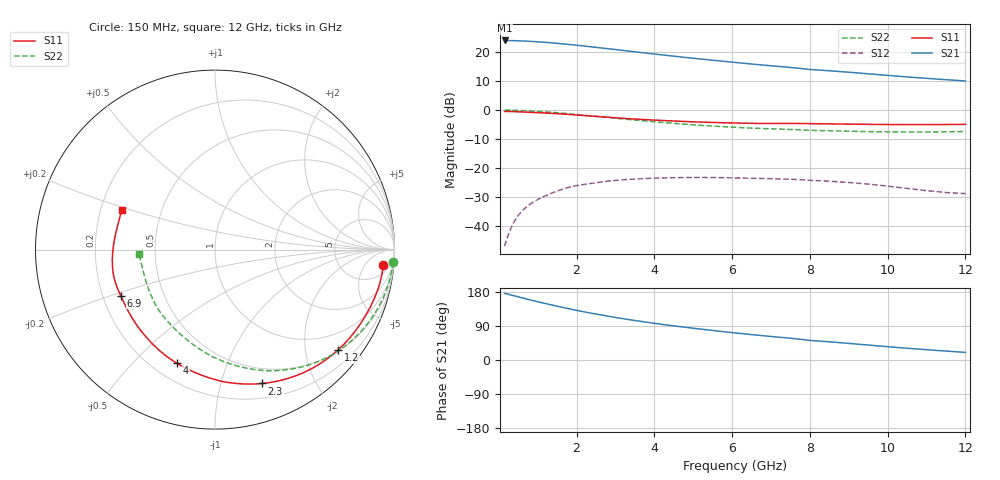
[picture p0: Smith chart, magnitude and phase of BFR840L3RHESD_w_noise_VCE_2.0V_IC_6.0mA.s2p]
! Infineon Technologies  Discrete & RF Semiconductors
! BFR840L3RHESD
! VCE =  2.0 V,  IC =  6.0 mA
! Common Emitter S-Parameters:  Jun 2012
# GHz  S  MA  R  50
!  f  S11  S21  S12  S22
! GHz  MAG  ANG  MAG  ANG  MAG  ANG  MAG  ANG
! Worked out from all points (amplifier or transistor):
!   91 points, 150 MHz to 12 GHz, reference 50 ohm
!   highest |S21| = 23.9 dB at 150 MHz (marker M1)
!   |S21| within 3 dB of that: start of sweep to 2.918 GHz
!   unconditionally stable (mu >= 1): 9.068 GHz to end of sweep
!   at 1.3 GHz: K = 0.11, MSG = 26.1 dB, |S12| = -29.0 dB
!   at 4.3 GHz: K = 0.31, MSG = 21.1 dB, |S12| = -23.4 dB
!   at 12 GHz: K = 2.32, MAG = 13.0 dB, |S12| = -28.8 dB
!   lowest NFmin = 0.53 dB at 450 MHz
!   S11 on the Smith chart (normalised r, x): 150 MHz: 10, -15; 1.2 GHz: 0.53, -2.72; 2.3 GHz: 0.34, -1.36; 4 GHz: 0.30, -0.68; 6.9 GHz: 0.28, -0.21; 12 GHz: 0.29, +0.19
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0.15  0.9407 -5.2  15.72 175.8  0.0045 88.6  0.9939 -4.0
0.35  0.9367 -11.9  15.62 170.7  0.0104 80.2  0.9879 -9.6
0.6  0.9227 -20.2  15.4 164.0  0.0183 74.5  0.9741 -16.2
0.9  0.9041 -29.9  15.04 156.3  0.0262 68.8  0.9519 -23.8
1.2  0.8848 -39.1  14.58 149.0  0.0332 62.8  0.9249 -31.2
1.4  0.8702 -45.1  14.22 144.3  0.0378 58.9  0.9046 -36.0
1.7  0.8453 -54.0  13.64 137.5  0.0444 53.6  0.8711 -43.0
1.9  0.8272 -59.7  13.23 133.1  0.0481 50.3  0.8474 -47.5
2.2  0.7998 -68.0  12.6 126.9  0.0522 45.6  0.811 -53.9
2.3  0.7909 -70.6  12.38 125.0  0.0534 44.1  0.7989 -55.9
2.6  0.7657 -77.9  11.75 119.4  0.0568 39.9  0.764 -61.7
3.1  0.7249 -89.7  10.77 110.6  0.0617 33.3  0.709 -70.9
3.5  0.6964 -98.4  10.03 104.2  0.0644 28.7  0.6688 -77.7
4  0.668 -108.4  9.189 96.8  0.0667 23.7  0.6252 -85.6
4.2  0.6583 -112.2  8.876 94.0  0.0673 21.8  0.6095 -88.6
5.1  0.6205 -128.1  7.644 82.6  0.0687 14.2  0.5487 -101.6
6.1  0.5946 -143.3  6.553 71.2  0.0674 7.3  0.5006 -115.0
6.9  0.5847 -154.0  5.839 63.1  0.0655 3.0  0.4753 -125.2
8  0.5802 -169.5  4.975 51.7  0.0614 -3.1  0.4456 -140.4
8.5  0.5751 -174.2  4.727 48.0  0.0592 -5.2  0.4372 -145.0
10.5  0.559 167.1  3.702 31.0  0.0445 -9.4  0.4173 -164.8
12  0.5641 157.0  3.158 20.0  0.0362 1.8  0.4249 -176.5
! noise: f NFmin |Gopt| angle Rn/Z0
0.45  0.53  0.47  6  0.18
0.9  0.57  0.47  11  0.18
1.9  0.6  0.48  29  0.17
3.5  0.62  0.48  47  0.15
4  0.64  0.47  55  0.15
5.5  0.68  0.47  70  0.13
7  0.75  0.46  91  0.12
8  0.81  0.43  100  0.11
10  0.94  0.39  123  0.1
12  1.11  0.33  153  0.09
